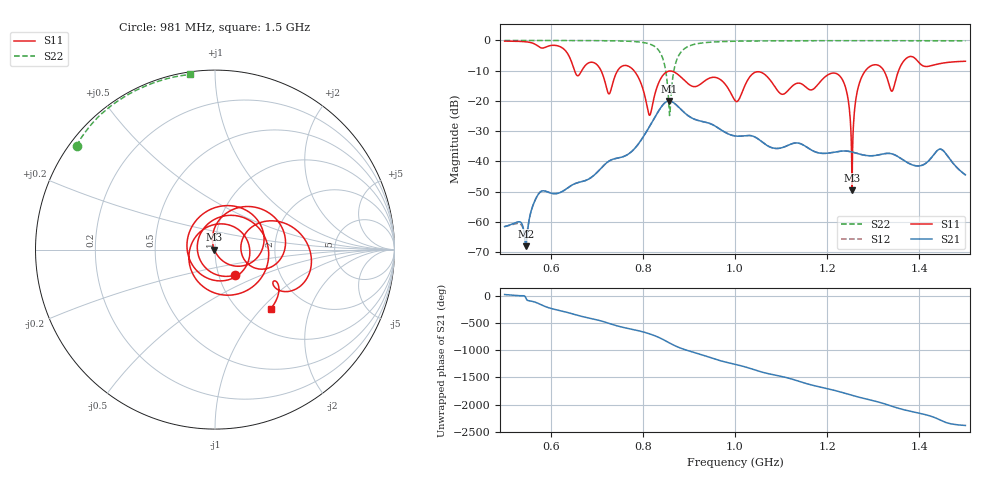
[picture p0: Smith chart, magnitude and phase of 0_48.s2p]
! TOUCHSTONE file generated by CST MICROWAVE STUDIO
! Date and time: Sat Oct 24 10:49:26 2020
! Project name: Scenario_1_Planar_Body_Tissue_Center.cst
! Parameters = {hfat=3; hmuscle=50; hskin=1.5; hgap=25; Wtissue=700; Ltissue=700; L_HA=400; MT=2.54; Rad_Dielectric=30; Rad_Lower=7.3; Rad_Upper=30; a_HA=580; a_WG=246; b_HA=500; b_WG=121; c_HA=0; c_WG=187; d_feed=85; dx1=987.04; h_feed=15; h_lower=18; h_upper=40}
! Header version: 2018
! Port assignment regex: !\s*Touchstone port\s*([0-9]+)\s*=\s*(CST MWS port|CST DS port)\s*([0-9]+|Zmin|Zmax)\s*\(\"(.*)\"\)(\s*mode\s*([0-9]+))?.*
! Touchstone port assignment:
! Touchstone port 1 = CST MWS port 1 ("")
! Touchstone port 2 = CST MWS port 2 ("")
# GHz S DB R 50
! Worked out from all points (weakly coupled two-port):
!   1003 points, 500 MHz to 1.5 GHz, reference 50 ohm
!   highest |S21| = -20.03 dB at 857 MHz (marker M1); lowest = -68.1 dB at 546 MHz (marker M2)
!   lowest |S11| = -49.6 dB at 1.254 GHz (marker M3), VSWR 1.01, Z = 49.7 - j0.112 ohm
!   |S11| at or under -10 dB: 709.3 MHz to 745.2 MHz (35.87 MHz wide, 4.93 % of centre); 780.7 MHz to 1.283 GHz (502.4 MHz wide, 48.7 % of centre); 1.323 GHz to 1.355 GHz (32.01 MHz wide, 2.39 % of centre)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
!   |S22| runs from -24.8 to 0.0 dB; largest |S21 - S12| = 0.00021
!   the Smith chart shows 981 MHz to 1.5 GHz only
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0.5  -0.22 -121.8  -61.58 19.2  -61.58 19.2  -0.01 151.1
0.546  -0.45 -144.9  -68.06 -41.2  -64.63 -46.4  -0.01 148.1
0.576  -2.24 -163.0  -50.34 -154.6  -50.33 -154.8  -0.02 145.9
0.635  -3.96 144.8  -49.00 53.8  -49.00 53.8  -0.03 141.3
0.667  -10.10 166.1  -46.74 -20.9  -46.74 -20.9  -0.04 138.4
0.704  -8.63 103.2  -43.14 -92.8  -43.14 -92.8  -0.07 134.4
0.738  -12.47 -124.2  -39.16 180.0  -39.16 180.0  -0.13 129.6
0.771  -8.71 126.0  -37.33 111.6  -37.33 111.6  -0.28 122.9
0.815  -24.76 -70.6  -28.35 17.2  -28.35 17.2  -1.20 104.1
0.834  -14.14 164.4  -23.38 -44.7  -23.38 -44.7  -3.19 84.3
0.857  -10.13 77.8  -20.03 -145.1  -20.03 -145.1  -22.85 -7.5
0.897  -14.15 -76.8  -24.75 73.3  -24.75 73.3  -2.10 170.7
0.941  -12.73 86.5  -27.24 -41.4  -27.24 -41.4  -0.65 151.2
1  -19.87 -143.6  -31.60 179.9  -31.60 179.9  -0.26 140.3
1.048  -10.37 -13.5  -32.37 63.0  -32.37 63.0  -0.17 134.7
1.167  -16.33 -168.6  -36.36 159.1  -36.36 159.1  -0.10 124.2
1.228  -11.85 -3.6  -36.67 34.8  -36.67 34.8  -0.09 119.5
1.254  -49.62 -160.1  -36.91 -29.3  -36.91 -29.3  -0.08 117.6
1.282  -10.22 51.1  -38.00 -90.5  -38.00 -90.5  -0.08 115.5
1.334  -14.43 -22.3  -37.36 149.7  -37.36 149.7  -0.09 111.5
1.378  -5.38 -4.6  -40.72 44.2  -40.72 44.2  -0.09 108.1
1.5  -6.89 -46.7  -44.47 138.9  -44.47 138.9  -0.13 98.0
